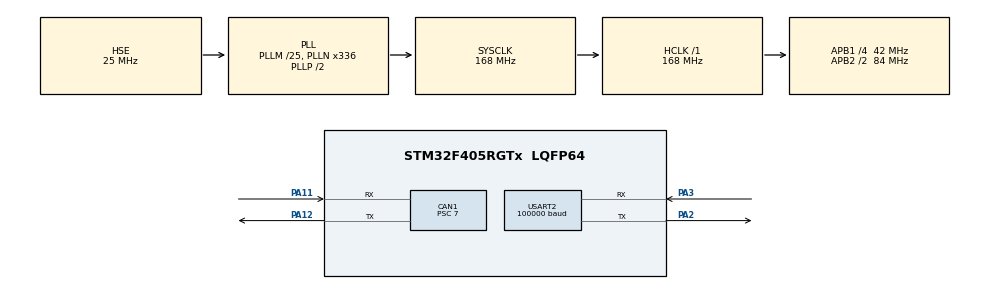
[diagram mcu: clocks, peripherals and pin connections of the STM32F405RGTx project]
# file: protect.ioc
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CAN1.BS1=CAN_BS1_2TQ
CAN1.BS2=CAN_BS2_3TQ
CAN1.CalculateBaudRate=999999
CAN1.CalculateTimeBit=1000
CAN1.CalculateTimeQuantum=166.66666666666669
CAN1.Prescaler=7
Dma.Request0=USART2_RX
Dma.USART2_RX.0.Direction=DMA_PERIPH_TO_MEMORY
Dma.USART2_RX.0.FIFOMode=DMA_FIFOMODE_DISABLE
Dma.USART2_RX.0.Instance=DMA1_Stream5
Dma.USART2_RX.0.MemDataAlignment=DMA_MDATAALIGN_BYTE
Dma.USART2_RX.0.MemInc=DMA_MINC_ENABLE
Dma.USART2_RX.0.Mode=DMA_CIRCULAR
Dma.USART2_RX.0.PeriphDataAlignment=DMA_PDATAALIGN_BYTE
Dma.USART2_RX.0.PeriphInc=DMA_PINC_DISABLE
Dma.USART2_RX.0.Priority=DMA_PRIORITY_VERY_HIGH
FREERTOS.BinarySemaphores01=myBinarySem01,Dynamic,NULL,Available
FREERTOS.Tasks01=defaultTask,24,128,StartDefaultTask,Default,NULL,Dynamic,NULL,NULL;DR16,8,128,tDR16,Default,NULL,Dynamic,NULL,NULL;DR16motor,8,128,tDR16motor,Default,NULL,Dynamic,NULL,NULL
Mcu.Family=STM32F4
Mcu.Name=STM32F405RGTx
Mcu.Package=LQFP64
NVIC.CAN1_RX0_IRQn=true\:5\:0\:false\:false\:true\:true\:true\:true\:true
NVIC.DMA1_Stream5_IRQn=true\:5\:0\:false\:false\:true\:true\:false\:true\:true
NVIC.PriorityGroup=NVIC_PRIORITYGROUP_4
NVIC.TIM7_IRQn=true\:15\:0\:false\:false\:true\:false\:false\:true\:true
NVIC.TimeBase=TIM7_IRQn
NVIC.TimeBaseIP=TIM7
NVIC.USART2_IRQn=true\:5\:0\:false\:false\:true\:true\:true\:true\:true
PA11.Mode=CAN_Activate
PA11.Signal=CAN1_RX
PA12.Mode=CAN_Activate
PA12.Signal=CAN1_TX
PA13.Mode=Serial_Wire
PA13.Signal=SYS_JTMS-SWDIO
PA14.Mode=Serial_Wire
PA14.Signal=SYS_JTCK-SWCLK
PA2.Mode=Asynchronous
PA2.Signal=USART2_TX
PA3.Mode=Asynchronous
PA3.Signal=USART2_RX
PC14-OSC32_IN.Mode=LSE-External-Oscillator
PC14-OSC32_IN.Signal=RCC_OSC32_IN
PC15-OSC32_OUT.Mode=LSE-External-Oscillator
PC15-OSC32_OUT.Signal=RCC_OSC32_OUT
PH0-OSC_IN.Mode=HSE-External-Oscillator
PH0-OSC_IN.Signal=RCC_OSC_IN
PH1-OSC_OUT.Mode=HSE-External-Oscillator
PH1-OSC_OUT.Signal=RCC_OSC_OUT
ProjectManager.HeapSize=0x200
ProjectManager.StackSize=0x400
ProjectManager.TargetToolchain=MDK-ARM V5.32
RCC.48MHZClocksFreq_Value=84000000
RCC.AHBFreq_Value=168000000
RCC.APB1CLKDivider=RCC_HCLK_DIV4
RCC.APB1Freq_Value=42000000
RCC.APB1TimFreq_Value=84000000
RCC.APB2CLKDivider=RCC_HCLK_DIV2
RCC.APB2Freq_Value=84000000
RCC.APB2TimFreq_Value=168000000
RCC.CortexFreq_Value=168000000
RCC.HCLKFreq_Value=168000000
RCC.HSE_VALUE=25000000
RCC.HSI_VALUE=16000000
RCC.PLLM=25
RCC.PLLN=336
RCC.PLLSourceVirtual=RCC_PLLSOURCE_HSE
RCC.SYSCLKFreq_VALUE=168000000
RCC.SYSCLKSource=RCC_SYSCLKSOURCE_PLLCLK
RCC.VCOOutputFreq_Value=336000000
USART2.BaudRate=100000
USART2.Parity=PARITY_EVEN
USART2.VirtualMode=VM_ASYNC
USART2.WordLength=WORDLENGTH_8B
VP_FREERTOS_VS_CMSIS_V2.Mode=CMSIS_V2
VP_SYS_VS_tim7.Mode=TIM7
board=custom

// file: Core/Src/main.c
/* USER CODE BEGIN Header */
/**
  ******************************************************************************
  * @file           : main.c
  * @brief          : Main program body
  ******************************************************************************
  * @attention
  *
  * Copyright (c) 2024 STMicroelectronics.
  * All rights reserved.
  *
  * This software is licensed under terms that can be found in the LICENSE file
  * in the root directory of this software component.
  * If no LICENSE file comes with this software, it is provided AS-IS.
  *
  ******************************************************************************
  */
/* USER CODE END Header */
#include "main.h"
#include "cmsis_os.h"
#include "can.h"
#include "dma.h"
#include "usart.h"
#include "gpio.h"

void SystemClock_Config(void);
void MX_FREERTOS_Init(void);

int main(void)
{

  /* MCU Configuration--------------------------------------------------------*/

  /* Reset of all peripherals, Initializes the Flash interface and the Systick. */
  HAL_Init();

  /* Configure the system clock */
  SystemClock_Config();

  /* Initialize all configured peripherals */
  MX_GPIO_Init();
  MX_DMA_Init();
  MX_CAN1_Init();
  MX_USART2_UART_Init();
  /* USER CODE BEGIN 2 */
  dbus_uart_init();

  /* USER CODE END 2 */

  /* Init scheduler */
  osKernelInitialize();

  /* Call init function for freertos objects (in cmsis_os2.c) */
  MX_FREERTOS_Init();

  /* Start scheduler */
  osKernelStart();

  /* We should never get here as control is now taken by the scheduler */

  /* Infinite loop */
  while (1)
  {

  }
}

void SystemClock_Config(void)
{
  RCC_OscInitTypeDef RCC_OscInitStruct = {0};
  RCC_ClkInitTypeDef RCC_ClkInitStruct = {0};

  /** Configure the main internal regulator output voltage
  */
  __HAL_RCC_PWR_CLK_ENABLE();
  __HAL_PWR_VOLTAGESCALING_CONFIG(PWR_REGULATOR_VOLTAGE_SCALE1);

  /** Initializes the RCC Oscillators according to the specified parameters
  * in the RCC_OscInitTypeDef structure.
  */
  RCC_OscInitStruct.OscillatorType = RCC_OSCILLATORTYPE_HSE;
  RCC_OscInitStruct.HSEState = RCC_HSE_ON;
  RCC_OscInitStruct.PLL.PLLState = RCC_PLL_ON;
  RCC_OscInitStruct.PLL.PLLSource = RCC_PLLSOURCE_HSE;
  RCC_OscInitStruct.PLL.PLLM = 25;
  RCC_OscInitStruct.PLL.PLLN = 336;
  RCC_OscInitStruct.PLL.PLLP = RCC_PLLP_DIV2;
  RCC_OscInitStruct.PLL.PLLQ = 4;
  if (HAL_RCC_OscConfig(&RCC_OscInitStruct) != HAL_OK)
  {
    Error_Handler();
  }

  /** Initializes the CPU, AHB and APB buses clocks
  */
  RCC_ClkInitStruct.ClockType = RCC_CLOCKTYPE_HCLK|RCC_CLOCKTYPE_SYSCLK
                              |RCC_CLOCKTYPE_PCLK1|RCC_CLOCKTYPE_PCLK2;
  RCC_ClkInitStruct.SYSCLKSource = RCC_SYSCLKSOURCE_PLLCLK;
  RCC_ClkInitStruct.AHBCLKDivider = RCC_SYSCLK_DIV1;
  RCC_ClkInitStruct.APB1CLKDivider = RCC_HCLK_DIV4;
  RCC_ClkInitStruct.APB2CLKDivider = RCC_HCLK_DIV2;

  if (HAL_RCC_ClockConfig(&RCC_ClkInitStruct, FLASH_LATENCY_5) != HAL_OK)
  {
    Error_Handler();
  }
}

void HAL_TIM_PeriodElapsedCallback(TIM_HandleTypeDef *htim)
{
  if (htim->Instance == TIM7) {
    HAL_IncTick();
  }
}

void Error_Handler(void)
{
  __disable_irq();
  while (1)
  {
  }
}

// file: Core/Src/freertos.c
/* USER CODE BEGIN Header */
/**
  ******************************************************************************
  * File Name          : freertos.c
  * Description        : Code for freertos applications
  ******************************************************************************
  * @attention
  *
  * Copyright (c) 2024 STMicroelectronics.
  * All rights reserved.
  *
  * This software is licensed under terms that can be found in the LICENSE file
  * in the root directory of this software component.
  * If no LICENSE file comes with this software, it is provided AS-IS.
  *
  ******************************************************************************
  */
/* USER CODE END Header */

#include "FreeRTOS.h"
#include "task.h"
#include "main.h"
#include "cmsis_os.h"

/* USER CODE BEGIN Includes */
#include "can.h"
#include "pid.h"
#include "usart.h"

pid_struct_t motor_pid_Single;//定义单个pid结构�?
float speedTarget = 300;//速度目标位置（单级）(0-380rpm左右)

TimerHandle_t xTimer;
/* USER CODE END Includes */

/* Definitions for defaultTask */
osThreadId_t defaultTaskHandle;
const osThreadAttr_t defaultTask_attributes = {
  .name = "defaultTask",
  .stack_size = 128 * 4,
  .priority = (osPriority_t) osPriorityNormal,
};
/* Definitions for DR16 */
osThreadId_t DR16Handle;
const osThreadAttr_t DR16_attributes = {
  .name = "DR16",
  .stack_size = 128 * 4,
  .priority = (osPriority_t) osPriorityLow,
};
/* Definitions for DR16motor */
osThreadId_t DR16motorHandle;
const osThreadAttr_t DR16motor_attributes = {
  .name = "DR16motor",
  .stack_size = 128 * 4,
  .priority = (osPriority_t) osPriorityLow,
};
/* Definitions for myBinarySem01 */
osSemaphoreId_t myBinarySem01Handle;
const osSemaphoreAttr_t myBinarySem01_attributes = {
  .name = "myBinarySem01"
};

void StartDefaultTask(void *argument);
void tDR16(void *argument);
void tDR16motor(void *argument);

void MX_FREERTOS_Init(void); /* (MISRA C 2004 rule 8.1) */

void MX_FREERTOS_Init(void) {

  /* Create the semaphores(s) */
  /* creation of myBinarySem01 */
  myBinarySem01Handle = osSemaphoreNew(1, 1, &myBinarySem01_attributes);

  /* Create the thread(s) */
  /* creation of defaultTask */
  defaultTaskHandle = osThreadNew(StartDefaultTask, NULL, &defaultTask_attributes);

  /* creation of DR16 */
  DR16Handle = osThreadNew(tDR16, NULL, &DR16_attributes);

  /* creation of DR16motor */
  DR16motorHandle = osThreadNew(tDR16motor, NULL, &DR16motor_attributes);

}

void StartDefaultTask(void *argument)
{
  /* USER CODE BEGIN StartDefaultTask */
xTimer = xTimerCreate(
    "drTimer",           // 定时器名字
    pdMS_TO_TICKS(20), // 定时器周期，单位为毫秒
    pdFALSE,              //
    ( void * ) 0,        // 定时器标识符
    dr_callback       // 回调函数
);
  /* Infinite loop */
  for(;;)
  {
    vTaskDelete(NULL);
  }
  /* USER CODE END StartDefaultTask */
}

void tDR16(void *argument)
{
  /* USER CODE BEGIN tDR16 */
    Configure_Filter();
    pid_init(&motor_pid_Single,40,3,0,25000,25000);
  /* Infinite loop */
  for(;;)
  {
    int16_t set_voltage = pid_calc(&motor_pid_Single, speedTarget, motor_info.rotor_speed);
    if(drflag == 0)
    CAN_Transmit(set_voltage);
    if(rc.ch0 >= 600||rc.ch1 >= 600)
    {
        speedTarget++;
    }
    else if(rc.ch0 <= -600||rc.ch1 <= -600)
    {
        speedTarget--;
    }
    vTaskDelay(1);
  }
  /* USER CODE END tDR16 */
}

void tDR16motor(void *argument)
{
  /* USER CODE BEGIN tDR16motor */
  /* Infinite loop */
  for(;;)
  {

    vTaskDelete(NULL);
  }
  /* USER CODE END tDR16motor */
}
